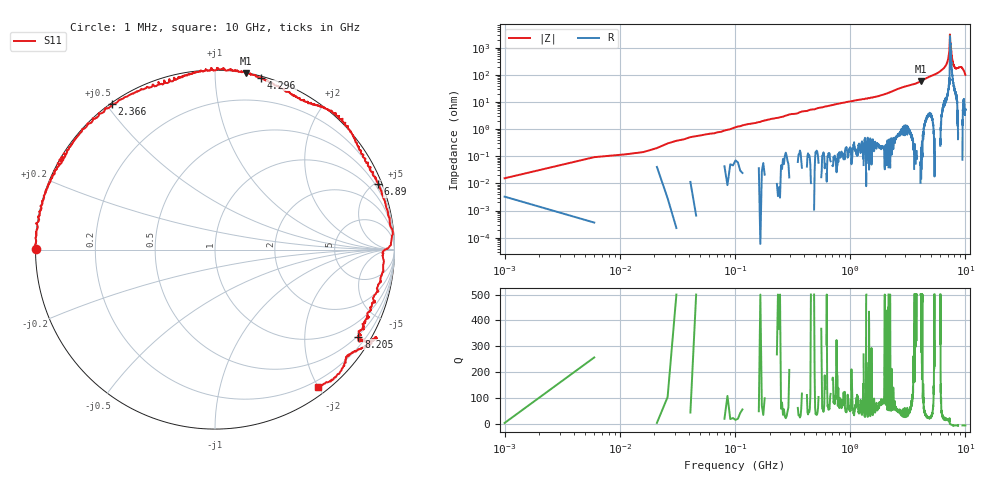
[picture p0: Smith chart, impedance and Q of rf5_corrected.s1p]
! Created with skrf 1.8.0 (http://scikit-rf.org).
# GHz S RI R 50.0
!freq ReS11 ImS11
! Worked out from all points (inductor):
!   2001 points, 1 MHz to 10 GHz, reference 50 ohm
!   read as one part to ground: L = 1.75 nH near 50.99 MHz
!   highest Q = 379 at 4.141 GHz (marker M1), where L = 2.29 nH
!   self-resonance near 7.375 GHz
!   S11 on the Smith chart (normalised r, x): 1 MHz: 0.00, +0.00; 2.366 GHz: 0.00, +0.52; 4.296 GHz: 0.01, +1.30; 6.89 GHz: 0.27, +5.16; 8.205 GHz: 0.46, -3.52; 10 GHz: 0.10, -1.99
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0.001  -0.9999 0.000606
0.710929  -0.9505 0.3048
1.250875  -0.8746 0.4613
1.860814  -0.7731 0.6232
2.115788  -0.6837 0.7142
2.365763  -0.5753 0.8109
2.50075  -0.503 0.8492
2.9957  -0.2835 0.9358
3.750625  -0.0232 1.01
4.140586  0.1724 0.9814
4.295571  0.2569 0.958
4.615539  0.3893 0.8855
5.0005  0.5145 0.8246
5.565443  0.657 0.7627
6.250375  0.7912 0.5871
6.890311  0.9098 0.3656
7.120288  0.9568 0.2277
7.285272  0.9911 0.0971
7.365264  0.9564 0.0054
7.50025  0.9392 -0.074
7.855214  0.8602 -0.3469
8.205179  0.7989 -0.4853
8.750125  0.8686 -0.5089
9.110089  0.8965 -0.4924
9.345066  0.8694 -0.5134
9.730027  0.7308 -0.6022
9.830017  0.7065 -0.6638
10  0.5744 -0.768
